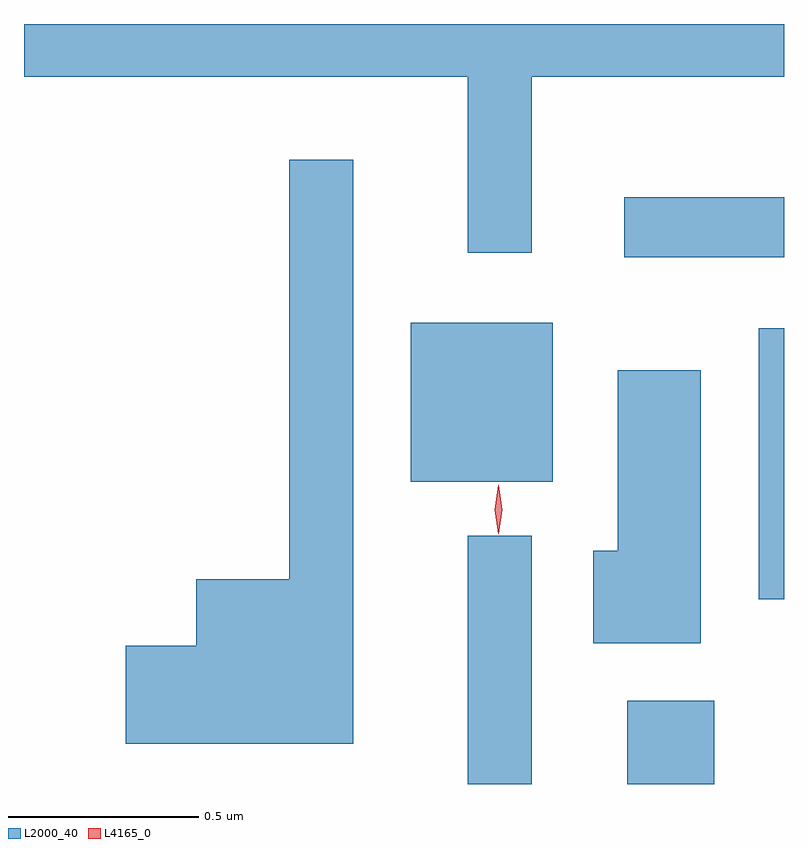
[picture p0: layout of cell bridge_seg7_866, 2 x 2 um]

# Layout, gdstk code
import gdstk
lib = gdstk.Library(unit=1e-6, precision=1e-09)
def R(c, l, rs):  # rectangles x0, y0, x1, y1
    for r in rs: c.add(gdstk.rectangle(r[:2], r[2:], *l))
def P(c, l, *ps):  # polygons
    for p in ps: c.add(gdstk.Polygon(p, *l))
L2000_40 = (2000, 40)
L4165_0 = (4165, 0)

bridge_seg7_866 = lib.new_cell('bridge_seg7_866')
R(bridge_seg7_866, L2000_40, [(208.981,1772.395,209.149,1773.048), (209.401,1772.395,209.629,1772.614), (209.746,1772.881,209.813,1773.594), (208.831,1773.191,209.204,1773.609), (209.393,1773.781,209.813,1773.939)])
P(bridge_seg7_866, L2000_40, [(209.149,1774.256),(209.813,1774.256),(209.813,1774.395),(207.813,1774.395),(207.813,1774.256),(208.981,1774.256),(208.981,1773.793),(209.149,1773.793)],
  [(208.679,1774.038),(208.511,1774.038),(208.511,1772.934),(208.266,1772.934),(208.266,1772.759),(208.081,1772.759),(208.081,1772.501),(208.679,1772.501)],
  [(209.594,1773.484),(209.376,1773.484),(209.376,1773.009),(209.311,1773.009),(209.311,1772.766),(209.594,1772.766)])
P(bridge_seg7_866, L4165_0, [(209.062,1773.052),(209.061,1773.053),(209.052,1773.117),(209.061,1773.181),(209.062,1773.182),(209.062,1773.181),(209.072,1773.117),(209.062,1773.053)])

lib.write_gds('bridge_seg7_866.gds')
